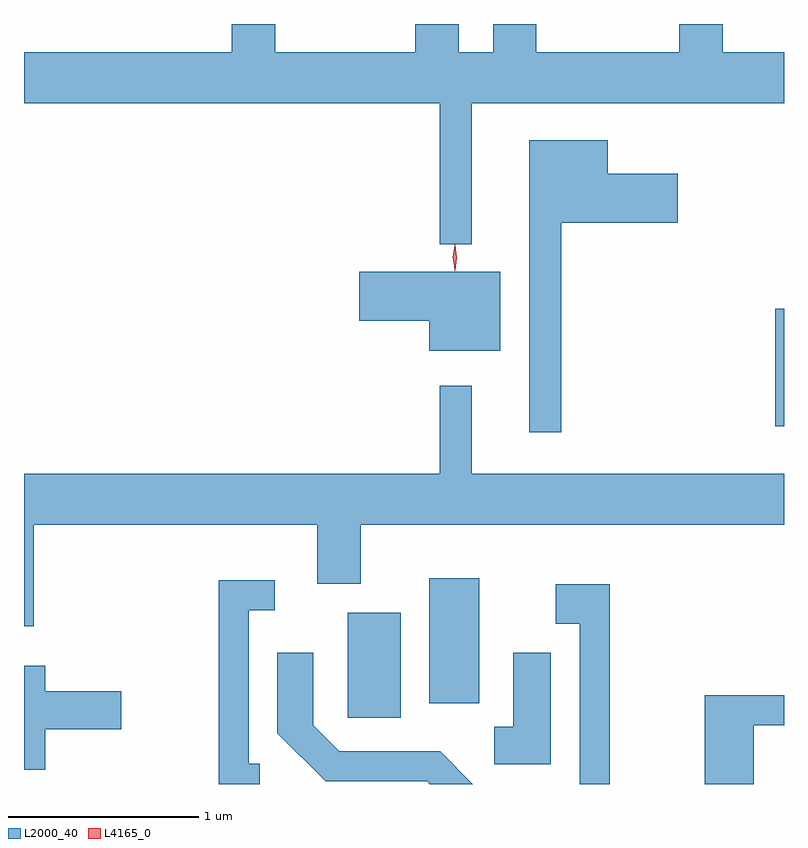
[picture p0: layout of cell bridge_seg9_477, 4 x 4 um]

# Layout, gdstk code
import gdstk
lib = gdstk.Library(unit=1e-6, precision=1e-09)
def R(c, l, rs):  # rectangles x0, y0, x1, y1
    for r in rs: c.add(gdstk.rectangle(r[:2], r[2:], *l))
def P(c, l, *ps):  # polygons
    for p in ps: c.add(gdstk.Polygon(p, *l))
L2000_40 = (2000, 40)
L4165_0 = (4165, 0)

bridge_seg9_477 = lib.new_cell('bridge_seg9_477')
R(bridge_seg9_477, L2000_40, [(600.036,1946.401,600.314,1946.954), (600.466,1946.476,600.729,1947.134), (602.286,1947.936,602.332,1948.554)])
P(bridge_seg9_477, L2000_40, [(600.689,1949.636),(602.332,1949.636),(602.332,1949.904),(602.009,1949.904),(602.009,1950.052),(601.781,1950.052),(601.781,1949.904),(601.029,1949.904),(601.029,1950.052),(600.801,1950.052),(600.801,1949.904),(600.619,1949.904),(600.619,1950.052),(600.391,1950.052),(600.391,1949.904),(599.654,1949.904),(599.654,1950.052),(599.426,1950.052),(599.426,1949.904),(598.332,1949.904),(598.332,1949.636),(600.521,1949.636),(600.521,1948.893),(600.689,1948.893)],
  [(601.159,1949.006),(601.774,1949.006),(601.774,1949.264),(601.404,1949.264),(601.404,1949.439),(600.991,1949.439),(600.991,1947.903),(601.159,1947.903)],
  [(600.839,1948.749),(600.096,1948.749),(600.096,1948.491),(600.466,1948.491),(600.466,1948.331),(600.839,1948.331)],
  [(598.384,1947.416),(599.876,1947.416),(599.876,1947.106),(600.104,1947.106),(600.104,1947.416),(602.332,1947.416),(602.332,1947.684),(600.689,1947.684),(600.689,1948.148),(600.521,1948.148),(600.521,1947.684),(598.332,1947.684),(598.332,1946.883),(598.384,1946.883)],
  [(599.574,1946.159),(599.514,1946.159),(599.514,1946.966),(599.653,1946.966),(599.653,1947.124),(599.356,1947.124),(599.356,1946.052),(599.574,1946.052)],
  [(601.414,1947.104),(601.131,1947.104),(601.131,1946.896),(601.256,1946.896),(601.256,1946.052),(601.414,1946.052)],
  [(600.522,1946.224),(599.992,1946.224),(599.854,1946.362),(599.854,1946.744),(599.666,1946.744),(599.666,1946.319),(599.919,1946.066),(600.454,1946.066),(600.468,1946.052),(600.694,1946.052)],
  [(601.104,1946.744),(600.906,1946.744),(600.906,1946.354),(600.806,1946.354),(600.806,1946.156),(601.104,1946.156)],
  [(598.444,1946.341),(598.844,1946.341),(598.844,1946.539),(598.444,1946.539),(598.444,1946.674),(598.332,1946.674),(598.332,1946.126),(598.444,1946.126)],
  [(602.174,1946.361),(602.332,1946.361),(602.332,1946.519),(601.916,1946.519),(601.916,1946.052),(602.174,1946.052)])
P(bridge_seg9_477, L4165_0, [(600.6,1948.754),(600.6,1948.754),(600.59,1948.822),(600.6,1948.89),(600.6,1948.89),(600.601,1948.89),(600.61,1948.822),(600.601,1948.754)],
  [(600.598,1948.76),(600.598,1948.761),(600.589,1948.824),(600.6,1948.886),(600.6,1948.887),(600.601,1948.886),(600.609,1948.823),(600.599,1948.761)])

lib.write_gds('bridge_seg9_477.gds')
